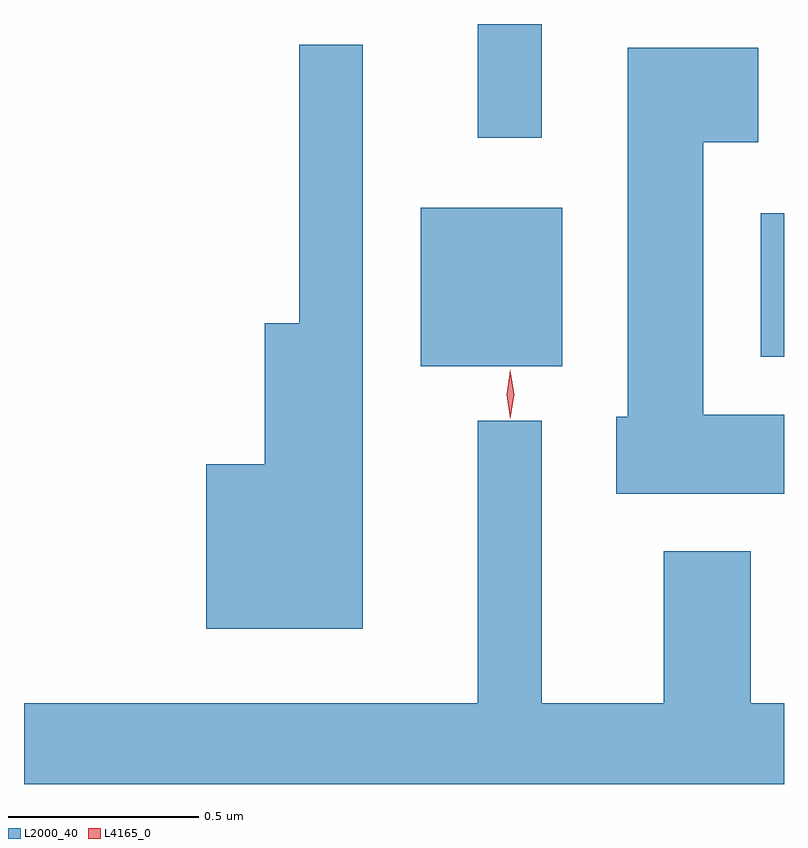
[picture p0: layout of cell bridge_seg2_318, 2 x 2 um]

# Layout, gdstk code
import gdstk
lib = gdstk.Library(unit=1e-6, precision=1e-09)
def R(c, l, rs):  # rectangles x0, y0, x1, y1
    for r in rs: c.add(gdstk.rectangle(r[:2], r[2:], *l))
def P(c, l, *ps):  # polygons
    for p in ps: c.add(gdstk.Polygon(p, *l))
L2000_40 = (2000, 40)
L4165_0 = (4165, 0)

bridge_seg2_318 = lib.new_cell('bridge_seg2_318')
R(bridge_seg2_318, L2000_40, [(465.981,1080.551,466.354,1080.969), (466.876,1080.576,466.937,1080.954), (466.131,1081.153,466.299,1081.452)])
P(bridge_seg2_318, L2000_40, [(465.829,1081.398),(465.661,1081.398),(465.661,1080.664),(465.571,1080.664),(465.571,1080.294),(465.416,1080.294),(465.416,1079.861),(465.829,1079.861)],
  [(466.937,1080.424),(466.724,1080.424),(466.724,1081.141),(466.869,1081.141),(466.869,1081.389),(466.526,1081.389),(466.526,1080.419),(466.496,1080.419),(466.496,1080.216),(466.937,1080.216)],
  [(466.937,1079.664),(466.849,1079.664),(466.849,1080.064),(466.621,1080.064),(466.621,1079.664),(466.299,1079.664),(466.299,1080.408),(466.131,1080.408),(466.131,1079.664),(464.937,1079.664),(464.937,1079.452),(466.937,1079.452)])
P(bridge_seg2_318, L4165_0, [(466.216,1080.413),(466.207,1080.477),(466.216,1080.541),(466.217,1080.542),(466.217,1080.541),(466.227,1080.477),(466.217,1080.413),(466.217,1080.413)])

lib.write_gds('bridge_seg2_318.gds')
